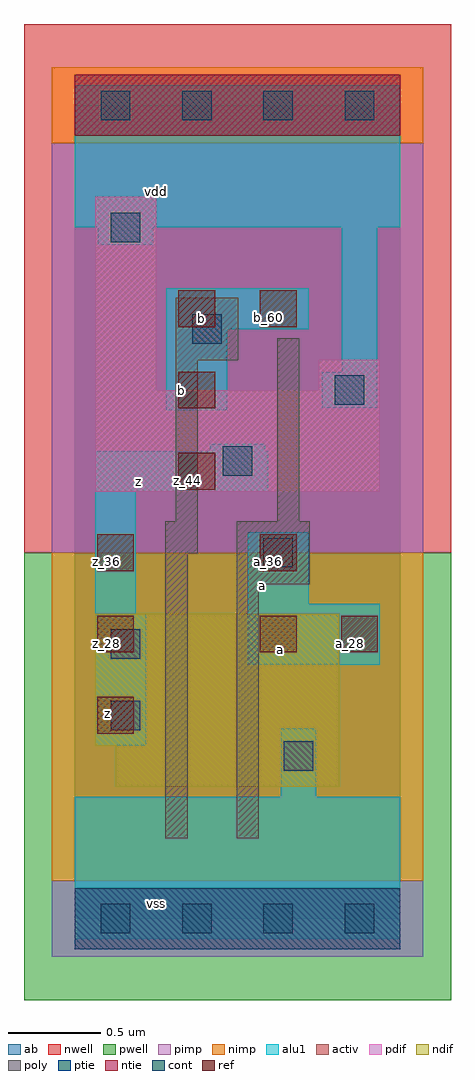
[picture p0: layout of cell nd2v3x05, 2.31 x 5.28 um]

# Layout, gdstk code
import gdstk
lib = gdstk.Library(unit=1e-6, precision=2.5e-09)
def R(c, l, rs):  # rectangles x0, y0, x1, y1
    for r in rs: c.add(gdstk.rectangle(r[:2], r[2:], *l))
def A(c, l, x, y, w, h, nx, ny, dx, dy):  # array of equal rectangles
    R(c, l, [(x+i*dx, y+j*dy, x+i*dx+w, y+j*dy+h) for i in range(nx) for j in range(ny)])
ndif = (3, 0)
pdif = (4, 0)
ntie = (5, 0)
ptie = (6, 0)
ref = (24, 0)
cont = (25, 0)
pwell = (41, 0)
nwell = (42, 0)
activ = (43, 0)
pimp = (44, 0)
nimp = (45, 0)
poly = (46, 0)
alu1 = (49, 0)
ab = (63, 0)

nd2v3x05 = lib.new_cell('nd2v3x05')
R(nd2v3x05, ndif, [(0.22,0.715,1.43,0.935), (0.11,0.935,1.43,1.65)])
R(nd2v3x05, pdif, [(0.11,2.31,1.65,2.86), (0.11,2.86,0.44,3.905), (1.32,2.86,1.65,3.025)])
R(nd2v3x05, ntie, [(0,4.235,1.76,4.565)])
R(nd2v3x05, ptie, [(0,-0.165,1.76,0.165)])
A(nd2v3x05, ref, 0.12, 1, 0.2, 0.2, 1, 3, 0, 0.44)
A(nd2v3x05, ref, 0.56, 2.32, 0.2, 0.2, 1, 3, 0, 0.44)
R(nd2v3x05, ref, [(1,1.44,1.2,1.64), (1.44,1.44,1.64,1.64), (1,1.88,1.2,2.08), (1,3.2,1.2,3.4)])
A(nd2v3x05, cont, 0.14, -0.08, 0.16, 0.16, 4, 2, 0.44, 4.4)
R(nd2v3x05, cont, [(1.13,0.8,1.29,0.96), (0.195,1.02,0.355,1.18), (0.195,1.405,0.355,1.565), (1.02,1.9,1.18,2.06), (0.8,2.395,0.96,2.555), (1.405,2.78,1.565,2.94), (0.635,3.11,0.795,3.27), (0.195,3.66,0.355,3.82)])
R(nd2v3x05, pwell, [(-0.275,-0.44,2.035,1.98)])
R(nd2v3x05, nwell, [(-0.275,1.98,2.035,4.84)])
R(nd2v3x05, activ, [(0,-0.165,1.76,0.165), (0.22,0.715,1.43,0.935), (0.11,0.935,1.43,1.65), (0.11,2.31,1.65,2.86), (0.11,2.86,0.44,3.905), (1.32,2.86,1.65,3.025), (0,4.235,1.76,4.565)])
R(nd2v3x05, pimp, [(-0.125,-0.205,1.885,0.205), (-0.125,1.98,1.885,4.195)])
R(nd2v3x05, nimp, [(-0.125,0.205,1.885,1.98), (-0.125,4.195,1.885,4.605)])
R(nd2v3x05, poly, [(0.49,0.435,0.61,1.975), (0.875,0.435,0.995,1.81), (0.875,1.81,1.27,2.15), (0.49,1.975,0.665,2.15), (0.545,2.15,0.665,3.02), (1.095,2.15,1.215,3.14), (0.545,3.02,0.885,3.36)])
R(nd2v3x05, alu1, [(0,-0.11,1.76,0.66), (1.115,0.66,1.305,1.03), (0.11,0.935,0.385,1.65), (0.935,1.375,1.65,1.705), (0.11,1.65,0.33,2.31), (0.935,1.705,1.265,2.09), (0.11,2.31,1.045,2.53), (0.73,2.53,1.03,2.57), (0.495,2.75,0.825,3.19), (1.335,2.765,1.635,2.955), (1.445,2.955,1.635,3.74), (0.495,3.19,1.265,3.41), (0.125,3.645,0.425,3.74), (0,3.74,1.76,4.51)])
R(nd2v3x05, ab, [(0,0,1.76,4.4)])
nd2v3x05.add(gdstk.Label('vss', (0.44,0.0825), layer=49, texttype=0))
nd2v3x05.add(gdstk.Label('a', (1.1125,1.4575), layer=49, texttype=0))
nd2v3x05.add(gdstk.Label('z', (0.1775,1.1125), layer=49, texttype=0))
nd2v3x05.add(gdstk.Label('a', (1.0175,1.8), layer=49, texttype=0))
nd2v3x05.add(gdstk.Label('z', (0.3425,2.365), layer=49, texttype=0))
nd2v3x05.add(gdstk.Label('b', (0.5775,2.86), layer=49, texttype=0))
nd2v3x05.add(gdstk.Label('b', (0.6875,3.245), layer=49, texttype=0))
nd2v3x05.add(gdstk.Label('vdd', (0.44,3.9325), layer=49, texttype=0))
nd2v3x05.add(gdstk.Label('z_20', (0.17,1.05), layer=24, texttype=0))
nd2v3x05.add(gdstk.Label('b_60', (1.05,3.25), layer=24, texttype=0))
nd2v3x05.add(gdstk.Label('z_44', (0.61,2.37), layer=24, texttype=0))
nd2v3x05.add(gdstk.Label('b_52', (0.61,2.81), layer=24, texttype=0))
nd2v3x05.add(gdstk.Label('b_60', (0.61,3.25), layer=24, texttype=0))
nd2v3x05.add(gdstk.Label('a_28', (1.05,1.49), layer=24, texttype=0))
nd2v3x05.add(gdstk.Label('a_36', (1.05,1.93), layer=24, texttype=0))
nd2v3x05.add(gdstk.Label('z_28', (0.17,1.49), layer=24, texttype=0))
nd2v3x05.add(gdstk.Label('z_36', (0.17,1.93), layer=24, texttype=0))
nd2v3x05.add(gdstk.Label('a_28', (1.49,1.49), layer=24, texttype=0))

lib.write_gds('nd2v3x05.gds')
